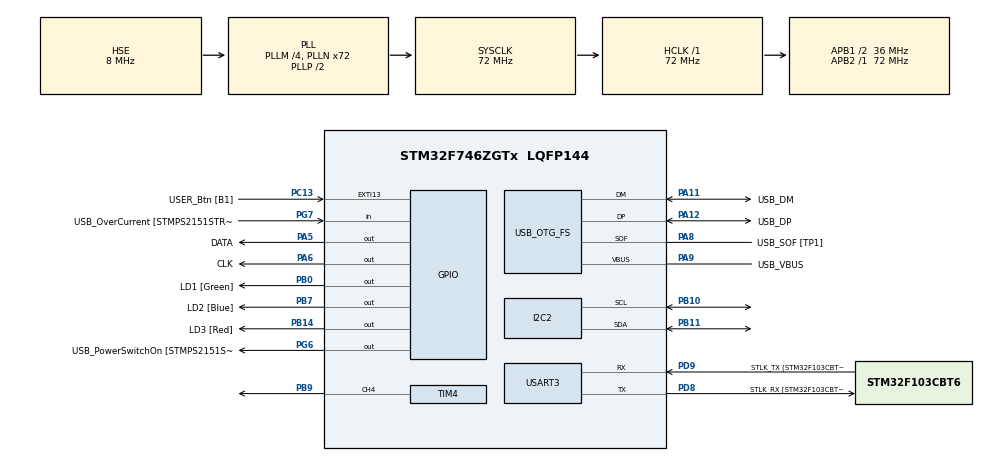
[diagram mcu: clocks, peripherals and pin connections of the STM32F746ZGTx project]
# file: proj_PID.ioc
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I2C2.Timing=0x00808CD2
Mcu.Family=STM32F7
Mcu.Name=STM32F746ZGTx
Mcu.Package=LQFP144
NVIC.PriorityGroup=NVIC_PRIORITYGROUP_4
PA1.GPIO_Label=RMII_REF_CLK [LAN8742A-CZ-TR_REFCLK0]
PA1.Signal=ETH_REF_CLK
PA10.GPIO_Label=USB_ID
PA10.Signal=USB_OTG_FS_ID
PA11.GPIO_Label=USB_DM
PA11.Mode=Device_Only
PA11.Signal=USB_OTG_FS_DM
PA12.GPIO_Label=USB_DP
PA12.Mode=Device_Only
PA12.Signal=USB_OTG_FS_DP
PA13.GPIO_Label=TMS
PA13.Mode=Serial_Wire
PA13.Signal=SYS_JTMS-SWDIO
PA14.GPIO_Label=TCK
PA14.Mode=Serial_Wire
PA14.Signal=SYS_JTCK-SWCLK
PA2.GPIO_Label=RMII_MDIO [LAN8742A-CZ-TR_MDIO]
PA2.Signal=ETH_MDIO
PA5.GPIO_Label=DATA
PA5.GPIO_Speed=GPIO_SPEED_FREQ_HIGH
PA5.Signal=GPIO_Output
PA6.GPIO_Label=CLK
PA6.GPIO_Speed=GPIO_SPEED_FREQ_HIGH
PA6.Signal=GPIO_Output
PA7.GPIO_Label=RMII_CRS_DV [LAN8742A-CZ-TR_CRS_DV]
PA7.Signal=ETH_CRS_DV
PA8.GPIO_Label=USB_SOF [TP1]
PA8.Mode=Activate_SOF_FS
PA8.Signal=USB_OTG_FS_SOF
PA9.GPIO_Label=USB_VBUS
PA9.Mode=Activate_VBUS
PA9.Signal=USB_OTG_FS_VBUS
PB0.GPIO_Label=LD1 [Green]
PB0.Signal=GPIO_Output
PB10.Mode=I2C
PB10.Signal=I2C2_SCL
PB11.Mode=I2C
PB11.Signal=I2C2_SDA
PB13.GPIO_Label=RMII_TXD1 [LAN8742A-CZ-TR_TXD1]
PB13.Signal=ETH_TXD1
PB14.GPIO_Label=LD3 [Red]
PB14.Signal=GPIO_Output
PB3.GPIO_Label=SW0
PB3.Signal=SYS_JTDO-SWO
PB7.GPIO_Label=LD2 [Blue]
PB7.Signal=GPIO_Output
PB9.Signal=S_TIM4_CH4
PC1.GPIO_Label=RMII_MDC [LAN8742A-CZ-TR_MDC]
PC1.Signal=ETH_MDC
PC13.GPIO_Label=USER_Btn [B1]
PC13.Signal=GPXTI13
PC14/OSC32_IN.Mode=LSE-External-Oscillator
PC14/OSC32_IN.Signal=RCC_OSC32_IN
PC15/OSC32_OUT.Mode=LSE-External-Oscillator
PC15/OSC32_OUT.Signal=RCC_OSC32_OUT
PC4.GPIO_Label=RMII_RXD0 [LAN8742A-CZ-TR_RXD0]
PC4.Signal=ETH_RXD0
PC5.GPIO_Label=RMII_RXD1 [LAN8742A-CZ-TR_RXD1]
PC5.Signal=ETH_RXD1
PD8.GPIO_Label=STLK_RX [STM32F103CBT6_PA3]
PD8.Mode=Asynchronous
PD8.Signal=USART3_TX
PD9.GPIO_Label=STLK_TX [STM32F103CBT6_PA2]
PD9.Mode=Asynchronous
PD9.Signal=USART3_RX
PG11.GPIO_Label=RMII_TX_EN [LAN8742A-CZ-TR_TXEN]
PG11.Signal=ETH_TX_EN
PG13.GPIO_Label=RMII_TXD0 [LAN8742A-CZ-TR_TXD0]
PG13.Signal=ETH_TXD0
PG6.GPIO_Label=USB_PowerSwitchOn [STMPS2151STR_EN]
PG6.Signal=GPIO_Output
PG7.GPIO_Label=USB_OverCurrent [STMPS2151STR_FAULT]
PG7.Signal=GPIO_Input
PH0/OSC_IN.GPIO_Label=MCO [STM32F103CBT6_PA8]
PH0/OSC_IN.Mode=HSE-External-Clock-Source
PH0/OSC_IN.Signal=RCC_OSC_IN
PH1/OSC_OUT.Mode=HSE-External-Clock-Source
PH1/OSC_OUT.Signal=RCC_OSC_OUT
ProjectManager.HeapSize=0x200
ProjectManager.StackSize=0x400
ProjectManager.TargetToolchain=STM32CubeIDE
RCC.48MHZClocksFreq_Value=24000000
RCC.AHBFreq_Value=72000000
RCC.APB1CLKDivider=RCC_HCLK_DIV2
RCC.APB1Freq_Value=36000000
RCC.APB1TimFreq_Value=72000000
RCC.APB2Freq_Value=72000000
RCC.APB2TimFreq_Value=72000000
RCC.CortexFreq_Value=72000000
RCC.HCLKFreq_Value=72000000
RCC.HSE_VALUE=8000000
RCC.HSI_VALUE=16000000
RCC.PLLM=4
RCC.PLLMUL=RCC_PLL_MUL9
RCC.PLLN=72
RCC.PLLQ=3
RCC.PRESCALERUSB=RCC_USBCLKSOURCE_PLL_DIV1_5
RCC.SYSCLKFreq_VALUE=72000000
RCC.SYSCLKSource=RCC_SYSCLKSOURCE_PLLCLK
RCC.SYSCLKSourceVirtual=RCC_SYSCLKSOURCE_PLLCLK
RCC.USBFreq_Value=48000000
RCC.VCOOutputFreq_Value=144000000
SH.S_TIM4_CH4.0=TIM4_CH4,PWM Generation4 CH4
TIM4.AutoReloadPreload=TIM_AUTORELOAD_PRELOAD_ENABLE
TIM4.Channel-PWM\ Generation4\ CH4=TIM_CHANNEL_4
TIM4.Period=999
TIM4.Prescaler=71
USART3.VirtualMode-Asynchronous=VM_ASYNC
USB_OTG_FS.VirtualMode=Device_Only
board=NUCLEO-F746ZG

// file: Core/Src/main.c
/* USER CODE BEGIN Header */
/**
  ******************************************************************************
  * @file           : main.c
  * @brief          : Main program body
  ******************************************************************************
  * @attention
  *
  * Copyright (c) 2022 STMicroelectronics.
  * All rights reserved.
  *
  * This software is licensed under terms that can be found in the LICENSE file
  * in the root directory of this software component.
  * If no LICENSE file comes with this software, it is provided AS-IS.
  *
  ******************************************************************************
  */
/* USER CODE END Header */
#include "main.h"

/* USER CODE BEGIN Includes */
#include "BMPXX80.h"
#include "TM1637.h"
/* USER CODE END Includes */

/* USER CODE BEGIN PTD */
typedef float float32_t;

typedef struct {
	float32_t Kp;
	float32_t Ki;
	float32_t Kd;
	float32_t dt;
} pid_parameters_t;

typedef struct {
	pid_parameters_t p;
	float32_t previous_error, previous_integral;
} pid_t;

/* USER CODE END PTD */

I2C_HandleTypeDef hi2c2;

TIM_HandleTypeDef htim4;

UART_HandleTypeDef huart3;

PCD_HandleTypeDef hpcd_USB_OTG_FS;

/* USER CODE BEGIN PV */
float temp = 0;
float temp_zad = 28;
float pwm_duty_f=0;
int32_t pres;
pid_t pid1 = { .p.Kp = 2.8, .p.Ki = 0.005, .p.Kd = 4.2, .p.dt = 1.0,
		.previous_error = 0, .previous_integral = 0 };
uint16_t pwm_duty=0;
/* USER CODE END PV */

void SystemClock_Config(void);
static void MX_GPIO_Init(void);
static void MX_USART3_UART_Init(void);
static void MX_USB_OTG_FS_PCD_Init(void);
static void MX_I2C2_Init(void);
static void MX_TIM4_Init(void);

/* USER CODE BEGIN 0 */
float calculate_discrete_pid(pid_t *pid, float32_t setpoint, float32_t measured) {

	float32_t u = 0, P, I, D, error, integral, derivative;
	error = setpoint - measured;
//proportional part

	P = pid->p.Kp * error;
//integral part

	integral = pid->previous_integral + (error + pid->previous_error); //numerical integrator without anti-windup
	pid->previous_integral = integral;
	I = pid->p.Ki * integral * (pid->p.dt / 2.0);

//derivative part
	derivative = (error - pid->previous_error) / pid->p.dt; //numerical derivative without filter
	pid->previous_error = error;
	D = pid->p.Kd * derivative;
//sum of all parts
	u = P + I + D; //without saturation
	return u;
}
/* USER CODE END 0 */

int main(void)
{

  /* MCU Configuration--------------------------------------------------------*/

  /* Reset of all peripherals, Initializes the Flash interface and the Systick. */
  HAL_Init();

  /* Configure the system clock */
  SystemClock_Config();

  /* Initialize all configured peripherals */
  MX_GPIO_Init();
  MX_USART3_UART_Init();
  MX_USB_OTG_FS_PCD_Init();
  MX_I2C2_Init();
  MX_TIM4_Init();
  /* USER CODE BEGIN 2 */
  HAL_TIM_PWM_Start(&htim4, TIM_CHANNEL_4);
  BMP280_Init(&hi2c2, BMP280_TEMPERATURE_16BIT, BMP280_STANDARD, BMP280_FORCEDMODE);
  TM1637_SetBrightness(7);

  /* USER CODE END 2 */

  /* Infinite loop */
  while (1)
  {

    /* USER CODE BEGIN 3 */

	  BMP280_ReadTemperatureAndPressure(&temp, &pres);
	  TM1637_DisplayDecimal(temp*100, 1);
	  pwm_duty_f=(999.0*calculate_discrete_pid(&pid1,temp_zad,temp));
	  if (pwm_duty_f<0) {
		  pwm_duty=0;
	  }
	  else if (pwm_duty_f>999.0) {
		  pwm_duty=999;
	  }
	  else {
		  pwm_duty = (uint16_t)pwm_duty_f;
	  }
	  __HAL_TIM_SET_COMPARE(&htim4,TIM_CHANNEL_4,pwm_duty);
	  HAL_Delay(1000);

  }
  /* USER CODE END 3 */
}

void SystemClock_Config(void)
{
  RCC_OscInitTypeDef RCC_OscInitStruct = {0};
  RCC_ClkInitTypeDef RCC_ClkInitStruct = {0};

  /** Configure LSE Drive Capability
  */
  HAL_PWR_EnableBkUpAccess();
  /** Configure the main internal regulator output voltage
  */
  __HAL_RCC_PWR_CLK_ENABLE();
  __HAL_PWR_VOLTAGESCALING_CONFIG(PWR_REGULATOR_VOLTAGE_SCALE3);
  /** Initializes the RCC Oscillators according to the specified parameters
  * in the RCC_OscInitTypeDef structure.
  */
  RCC_OscInitStruct.OscillatorType = RCC_OSCILLATORTYPE_HSE;
  RCC_OscInitStruct.HSEState = RCC_HSE_BYPASS;
  RCC_OscInitStruct.PLL.PLLState = RCC_PLL_ON;
  RCC_OscInitStruct.PLL.PLLSource = RCC_PLLSOURCE_HSE;
  RCC_OscInitStruct.PLL.PLLM = 4;
  RCC_OscInitStruct.PLL.PLLN = 72;
  RCC_OscInitStruct.PLL.PLLP = RCC_PLLP_DIV2;
  RCC_OscInitStruct.PLL.PLLQ = 3;
  if (HAL_RCC_OscConfig(&RCC_OscInitStruct) != HAL_OK)
  {
    Error_Handler();
  }
  /** Initializes the CPU, AHB and APB buses clocks
  */
  RCC_ClkInitStruct.ClockType = RCC_CLOCKTYPE_HCLK|RCC_CLOCKTYPE_SYSCLK
                              |RCC_CLOCKTYPE_PCLK1|RCC_CLOCKTYPE_PCLK2;
  RCC_ClkInitStruct.SYSCLKSource = RCC_SYSCLKSOURCE_PLLCLK;
  RCC_ClkInitStruct.AHBCLKDivider = RCC_SYSCLK_DIV1;
  RCC_ClkInitStruct.APB1CLKDivider = RCC_HCLK_DIV2;
  RCC_ClkInitStruct.APB2CLKDivider = RCC_HCLK_DIV1;

  if (HAL_RCC_ClockConfig(&RCC_ClkInitStruct, FLASH_LATENCY_2) != HAL_OK)
  {
    Error_Handler();
  }
}

static void MX_I2C2_Init(void)
{

  hi2c2.Instance = I2C2;
  hi2c2.Init.Timing = 0x00808CD2;
  hi2c2.Init.OwnAddress1 = 0;
  hi2c2.Init.AddressingMode = I2C_ADDRESSINGMODE_7BIT;
  hi2c2.Init.DualAddressMode = I2C_DUALADDRESS_DISABLE;
  hi2c2.Init.OwnAddress2 = 0;
  hi2c2.Init.OwnAddress2Masks = I2C_OA2_NOMASK;
  hi2c2.Init.GeneralCallMode = I2C_GENERALCALL_DISABLE;
  hi2c2.Init.NoStretchMode = I2C_NOSTRETCH_DISABLE;
  if (HAL_I2C_Init(&hi2c2) != HAL_OK)
  {
    Error_Handler();
  }
  /** Configure Analogue filter
  */
  if (HAL_I2CEx_ConfigAnalogFilter(&hi2c2, I2C_ANALOGFILTER_ENABLE) != HAL_OK)
  {
    Error_Handler();
  }
  /** Configure Digital filter
  */
  if (HAL_I2CEx_ConfigDigitalFilter(&hi2c2, 0) != HAL_OK)
  {
    Error_Handler();
  }

}

static void MX_TIM4_Init(void)
{

  TIM_MasterConfigTypeDef sMasterConfig = {0};
  TIM_OC_InitTypeDef sConfigOC = {0};

  htim4.Instance = TIM4;
  htim4.Init.Prescaler = 71;
  htim4.Init.CounterMode = TIM_COUNTERMODE_UP;
  htim4.Init.Period = 999;
  htim4.Init.ClockDivision = TIM_CLOCKDIVISION_DIV1;
  htim4.Init.AutoReloadPreload = TIM_AUTORELOAD_PRELOAD_ENABLE;
  if (HAL_TIM_PWM_Init(&htim4) != HAL_OK)
  {
    Error_Handler();
  }
  sMasterConfig.MasterOutputTrigger = TIM_TRGO_RESET;
  sMasterConfig.MasterSlaveMode = TIM_MASTERSLAVEMODE_DISABLE;
  if (HAL_TIMEx_MasterConfigSynchronization(&htim4, &sMasterConfig) != HAL_OK)
  {
    Error_Handler();
  }
  sConfigOC.OCMode = TIM_OCMODE_PWM1;
  sConfigOC.Pulse = 0;
  sConfigOC.OCPolarity = TIM_OCPOLARITY_HIGH;
  sConfigOC.OCFastMode = TIM_OCFAST_DISABLE;
  if (HAL_TIM_PWM_ConfigChannel(&htim4, &sConfigOC, TIM_CHANNEL_4) != HAL_OK)
  {
    Error_Handler();
  }
  HAL_TIM_MspPostInit(&htim4);

}

static void MX_USART3_UART_Init(void)
{

  huart3.Instance = USART3;
  huart3.Init.BaudRate = 115200;
  huart3.Init.WordLength = UART_WORDLENGTH_8B;
  huart3.Init.StopBits = UART_STOPBITS_1;
  huart3.Init.Parity = UART_PARITY_NONE;
  huart3.Init.Mode = UART_MODE_TX_RX;
  huart3.Init.HwFlowCtl = UART_HWCONTROL_NONE;
  huart3.Init.OverSampling = UART_OVERSAMPLING_16;
  huart3.Init.OneBitSampling = UART_ONE_BIT_SAMPLE_DISABLE;
  huart3.AdvancedInit.AdvFeatureInit = UART_ADVFEATURE_NO_INIT;
  if (HAL_UART_Init(&huart3) != HAL_OK)
  {
    Error_Handler();
  }

}

static void MX_USB_OTG_FS_PCD_Init(void)
{

  hpcd_USB_OTG_FS.Instance = USB_OTG_FS;
  hpcd_USB_OTG_FS.Init.dev_endpoints = 6;
  hpcd_USB_OTG_FS.Init.speed = PCD_SPEED_FULL;
  hpcd_USB_OTG_FS.Init.dma_enable = DISABLE;
  hpcd_USB_OTG_FS.Init.phy_itface = PCD_PHY_EMBEDDED;
  hpcd_USB_OTG_FS.Init.Sof_enable = ENABLE;
  hpcd_USB_OTG_FS.Init.low_power_enable = DISABLE;
  hpcd_USB_OTG_FS.Init.lpm_enable = DISABLE;
  hpcd_USB_OTG_FS.Init.vbus_sensing_enable = ENABLE;
  hpcd_USB_OTG_FS.Init.use_dedicated_ep1 = DISABLE;
  if (HAL_PCD_Init(&hpcd_USB_OTG_FS) != HAL_OK)
  {
    Error_Handler();
  }

}

static void MX_GPIO_Init(void)
{
  GPIO_InitTypeDef GPIO_InitStruct = {0};

  /* GPIO Ports Clock Enable */
  __HAL_RCC_GPIOC_CLK_ENABLE();
  __HAL_RCC_GPIOH_CLK_ENABLE();
  __HAL_RCC_GPIOA_CLK_ENABLE();
  __HAL_RCC_GPIOB_CLK_ENABLE();
  __HAL_RCC_GPIOD_CLK_ENABLE();
  __HAL_RCC_GPIOG_CLK_ENABLE();

  /*Configure GPIO pin Output Level */
  HAL_GPIO_WritePin(GPIOA, DATA_Pin|CLK_Pin, GPIO_PIN_RESET);

  /*Configure GPIO pin Output Level */
  HAL_GPIO_WritePin(GPIOB, LD1_Pin|LD3_Pin|LD2_Pin, GPIO_PIN_RESET);

  /*Configure GPIO pin Output Level */
  HAL_GPIO_WritePin(USB_PowerSwitchOn_GPIO_Port, USB_PowerSwitchOn_Pin, GPIO_PIN_RESET);

  /*Configure GPIO pin : USER_Btn_Pin */
  GPIO_InitStruct.Pin = USER_Btn_Pin;
  GPIO_InitStruct.Mode = GPIO_MODE_IT_RISING;
  GPIO_InitStruct.Pull = GPIO_NOPULL;
  HAL_GPIO_Init(USER_Btn_GPIO_Port, &GPIO_InitStruct);

  /*Configure GPIO pins : RMII_MDC_Pin RMII_RXD0_Pin RMII_RXD1_Pin */
  GPIO_InitStruct.Pin = RMII_MDC_Pin|RMII_RXD0_Pin|RMII_RXD1_Pin;
  GPIO_InitStruct.Mode = GPIO_MODE_AF_PP;
  GPIO_InitStruct.Pull = GPIO_NOPULL;
  GPIO_InitStruct.Speed = GPIO_SPEED_FREQ_VERY_HIGH;
  GPIO_InitStruct.Alternate = GPIO_AF11_ETH;
  HAL_GPIO_Init(GPIOC, &GPIO_InitStruct);

  /*Configure GPIO pins : RMII_REF_CLK_Pin RMII_MDIO_Pin RMII_CRS_DV_Pin */
  GPIO_InitStruct.Pin = RMII_REF_CLK_Pin|RMII_MDIO_Pin|RMII_CRS_DV_Pin;
  GPIO_InitStruct.Mode = GPIO_MODE_AF_PP;
  GPIO_InitStruct.Pull = GPIO_NOPULL;
  GPIO_InitStruct.Speed = GPIO_SPEED_FREQ_VERY_HIGH;
  GPIO_InitStruct.Alternate = GPIO_AF11_ETH;
  HAL_GPIO_Init(GPIOA, &GPIO_InitStruct);

  /*Configure GPIO pins : DATA_Pin CLK_Pin */
  GPIO_InitStruct.Pin = DATA_Pin|CLK_Pin;
  GPIO_InitStruct.Mode = GPIO_MODE_OUTPUT_PP;
  GPIO_InitStruct.Pull = GPIO_NOPULL;
  GPIO_InitStruct.Speed = GPIO_SPEED_FREQ_HIGH;
  HAL_GPIO_Init(GPIOA, &GPIO_InitStruct);

  /*Configure GPIO pins : LD1_Pin LD3_Pin LD2_Pin */
  GPIO_InitStruct.Pin = LD1_Pin|LD3_Pin|LD2_Pin;
  GPIO_InitStruct.Mode = GPIO_MODE_OUTPUT_PP;
  GPIO_InitStruct.Pull = GPIO_NOPULL;
  GPIO_InitStruct.Speed = GPIO_SPEED_FREQ_LOW;
  HAL_GPIO_Init(GPIOB, &GPIO_InitStruct);

  /*Configure GPIO pin : RMII_TXD1_Pin */
  GPIO_InitStruct.Pin = RMII_TXD1_Pin;
  GPIO_InitStruct.Mode = GPIO_MODE_AF_PP;
  GPIO_InitStruct.Pull = GPIO_NOPULL;
  GPIO_InitStruct.Speed = GPIO_SPEED_FREQ_VERY_HIGH;
  GPIO_InitStruct.Alternate = GPIO_AF11_ETH;
  HAL_GPIO_Init(RMII_TXD1_GPIO_Port, &GPIO_InitStruct);

  /*Configure GPIO pin : USB_PowerSwitchOn_Pin */
  GPIO_InitStruct.Pin = USB_PowerSwitchOn_Pin;
  GPIO_InitStruct.Mode = GPIO_MODE_OUTPUT_PP;
  GPIO_InitStruct.Pull = GPIO_NOPULL;
  GPIO_InitStruct.Speed = GPIO_SPEED_FREQ_LOW;
  HAL_GPIO_Init(USB_PowerSwitchOn_GPIO_Port, &GPIO_InitStruct);

  /*Configure GPIO pin : USB_OverCurrent_Pin */
  GPIO_InitStruct.Pin = USB_OverCurrent_Pin;
  GPIO_InitStruct.Mode = GPIO_MODE_INPUT;
  GPIO_InitStruct.Pull = GPIO_NOPULL;
  HAL_GPIO_Init(USB_OverCurrent_GPIO_Port, &GPIO_InitStruct);

  /*Configure GPIO pins : RMII_TX_EN_Pin RMII_TXD0_Pin */
  GPIO_InitStruct.Pin = RMII_TX_EN_Pin|RMII_TXD0_Pin;
  GPIO_InitStruct.Mode = GPIO_MODE_AF_PP;
  GPIO_InitStruct.Pull = GPIO_NOPULL;
  GPIO_InitStruct.Speed = GPIO_SPEED_FREQ_VERY_HIGH;
  GPIO_InitStruct.Alternate = GPIO_AF11_ETH;
  HAL_GPIO_Init(GPIOG, &GPIO_InitStruct);

}

void Error_Handler(void)
{
  __disable_irq();
  while (1)
  {
  }
}
